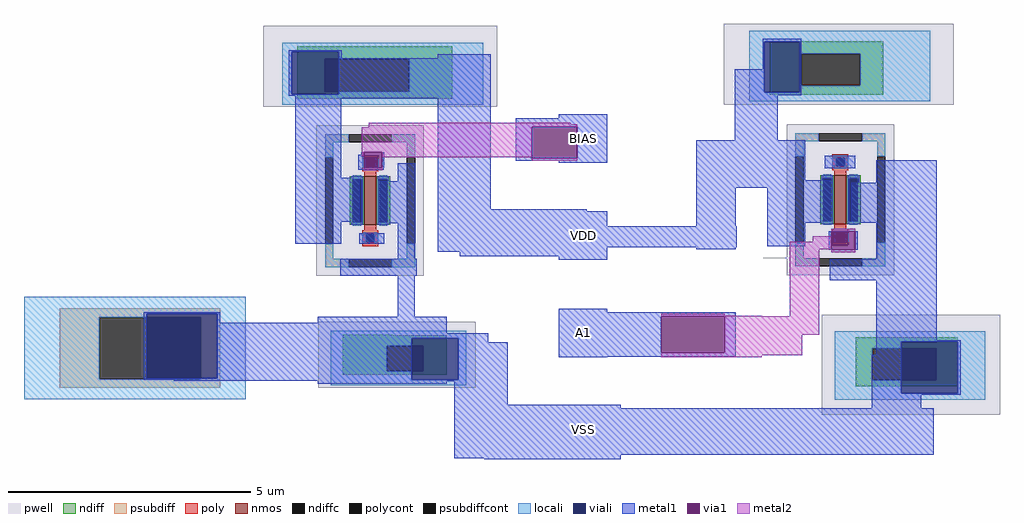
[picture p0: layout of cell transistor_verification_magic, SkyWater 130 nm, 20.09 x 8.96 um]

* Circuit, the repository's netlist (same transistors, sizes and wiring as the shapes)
* NGSPICE file created from transistor_verification_magic.ext - technology: sky130A

.subckt sky130_fd_pr__nfet_01v8_HHPQSU a_25_n100# a_n33_n188# a_n185_n274# a_n83_n100#
X0 a_25_n100# a_n33_n188# a_n83_n100# a_n185_n274# sky130_fd_pr__nfet_01v8 ad=0.29 pd=2.58 as=0.29 ps=2.58 w=1 l=0.25
.ends

.subckt transistor_verification_magic BIAS VDD A1 VSS
XXM4 VSS A1 VSS VDD sky130_fd_pr__nfet_01v8_HHPQSU
XXM5 VSS BIAS VSS VDD sky130_fd_pr__nfet_01v8_HHPQSU
.ends

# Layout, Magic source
magic
tech sky130A
magscale 1 2
<< pwell >>
rect -1218 230 -254 564
rect 678 240 1626 572
rect 842 -392 1222 -390
rect -990 -926 -342 -654
rect 1082 -1038 1816 -626
<< ndiff >>
rect -1078 428 -440 480
rect -1078 292 -964 428
rect -616 292 -440 428
rect -1078 264 -440 292
rect 868 448 1336 500
rect 868 318 998 448
rect 1240 318 1336 448
rect 868 280 1336 318
rect -890 -710 -684 -708
rect -890 -754 -462 -710
rect -890 -858 -708 -754
rect -558 -858 -462 -754
rect -890 -872 -462 -858
rect 1222 -764 1642 -718
rect 1222 -896 1290 -764
rect 1554 -896 1642 -764
rect 1222 -920 1642 -896
<< ndiffc >>
rect -964 292 -616 428
rect 998 318 1240 448
rect -708 -858 -558 -754
rect 1290 -896 1554 -764
<< psubdiff >>
rect -2054 -636 -1394 -598
rect -2054 -892 -1892 -636
rect -1474 -892 -1394 -636
rect -2054 -926 -1394 -892
<< psubdiffcont >>
rect -1892 -892 -1474 -636
<< locali >>
rect 784 498 1528 544
rect -1138 458 -312 494
rect -1138 282 -1100 458
rect -906 428 -312 458
rect -616 292 -312 428
rect -906 282 -312 292
rect -1138 238 -312 282
rect 784 290 846 498
rect 992 448 1528 498
rect 992 318 998 448
rect 1240 318 1528 448
rect 992 290 1528 318
rect 784 254 1528 290
rect -2202 -622 -1290 -552
rect -2202 -636 -1696 -622
rect -2202 -892 -1892 -636
rect -1406 -888 -1290 -622
rect -1474 -892 -1290 -888
rect -2202 -974 -1290 -892
rect -940 -722 -382 -692
rect -940 -754 -606 -722
rect -940 -858 -708 -754
rect -940 -894 -606 -858
rect -414 -894 -382 -722
rect -940 -916 -382 -894
rect 1136 -736 1756 -694
rect 1136 -764 1410 -736
rect 1136 -896 1290 -764
rect 1136 -948 1410 -896
rect 1642 -948 1756 -736
rect 1136 -976 1756 -948
<< viali >>
rect -1100 428 -906 458
rect -1100 292 -964 428
rect -964 292 -906 428
rect -1100 282 -906 292
rect 846 290 992 498
rect -1696 -636 -1406 -622
rect -1696 -888 -1474 -636
rect -1474 -888 -1406 -636
rect -606 -754 -414 -722
rect -606 -858 -558 -754
rect -558 -858 -414 -754
rect -606 -894 -414 -858
rect 1410 -764 1642 -736
rect 1410 -896 1554 -764
rect 1554 -896 1642 -764
rect 1410 -948 1642 -896
<< metal1 >>
rect 840 498 998 510
rect -1112 458 -894 464
rect -1112 282 -1100 458
rect -906 430 -894 458
rect -498 430 -280 446
rect -906 282 -280 430
rect 840 386 846 498
rect -1112 276 -280 282
rect -1086 266 -280 276
rect -1086 -62 -896 266
rect -814 34 -804 44
rect -826 -20 -804 34
rect -728 -20 -718 44
rect -826 -28 -722 -20
rect -1086 -242 -820 -62
rect -664 -76 -594 -2
rect -1086 -334 -896 -242
rect -740 -248 -594 -76
rect -822 -334 -718 -290
rect -664 -396 -594 -248
rect -498 -192 -280 266
rect 724 290 846 386
rect 992 290 998 498
rect 724 278 998 290
rect 0 184 200 200
rect -178 148 200 184
rect -178 18 -112 148
rect 76 18 200 148
rect 724 92 902 278
rect -178 8 200 18
rect 0 0 200 8
rect 566 -72 1014 92
rect 1094 -22 1220 30
rect 566 -102 1126 -72
rect 1306 -82 1556 10
rect -498 -200 114 -192
rect -498 -262 200 -200
rect 566 -262 728 -102
rect 858 -246 1126 -102
rect 1204 -246 1556 -82
rect -498 -348 732 -262
rect 858 -344 1014 -246
rect 1130 -282 1194 -280
rect -498 -366 200 -348
rect 566 -356 728 -348
rect 1112 -358 1122 -282
rect 1220 -358 1230 -282
rect -408 -384 200 -366
rect -900 -466 -586 -396
rect 0 -400 200 -384
rect 1306 -398 1556 -246
rect -1708 -622 -1394 -616
rect -1708 -888 -1696 -622
rect -1406 -658 -1394 -622
rect -664 -634 -594 -466
rect 1116 -484 1556 -398
rect 0 -616 200 -600
rect 0 -632 728 -616
rect -992 -658 -462 -634
rect -1406 -702 -462 -658
rect -1406 -722 -290 -702
rect -1406 -888 -606 -722
rect -1708 -894 -606 -888
rect -414 -738 -290 -722
rect -414 -894 -210 -738
rect 0 -782 422 -632
rect 682 -782 728 -632
rect 0 -798 728 -782
rect 1306 -730 1556 -484
rect 1306 -736 1654 -730
rect 1306 -790 1410 -736
rect 0 -800 200 -798
rect -1586 -898 -210 -894
rect -992 -900 -210 -898
rect -992 -910 -462 -900
rect -430 -996 -210 -900
rect 1288 -948 1410 -790
rect 1642 -948 1654 -736
rect 1288 -954 1654 -948
rect -430 -1010 254 -996
rect 1288 -1010 1492 -954
rect -430 -1202 1544 -1010
rect -430 -1216 254 -1202
rect -308 -1220 254 -1216
<< via1 >>
rect -804 -20 -728 44
rect -112 18 76 148
rect 1122 -358 1220 -282
rect 422 -782 682 -632
<< metal2 >>
rect -782 158 48 164
rect -782 148 76 158
rect -782 146 -112 148
rect -812 44 -112 146
rect -812 26 -804 44
rect -728 22 -112 44
rect -112 8 76 18
rect -804 -30 -728 -20
rect 1122 -282 1220 -272
rect 1046 -324 1122 -302
rect 950 -356 1122 -324
rect 422 -630 682 -622
rect 422 -632 836 -630
rect 950 -632 1072 -356
rect 1122 -368 1220 -358
rect 682 -708 1072 -632
rect 682 -782 1002 -708
rect 422 -792 1002 -782
rect 422 -800 836 -792
use sky130_fd_pr__nfet_01v8_HHPQSU  XM4
transform 1 0 1159 0 1 -152
box -221 -310 221 310
use sky130_fd_pr__nfet_01v8_HHPQSU  XM5
transform 1 0 -777 0 1 -156
box -221 -310 221 310
<< labels >>
flabel metal1 0 0 200 200 0 FreeSans 256 0 0 0 BIAS
port 0 nsew
flabel metal1 0 -400 200 -200 0 FreeSans 256 0 0 0 VDD
port 1 nsew
flabel metal1 0 -800 200 -600 0 FreeSans 256 0 0 0 A1
port 2 nsew
flabel metal1 0 -1200 200 -1000 0 FreeSans 256 0 0 0 VSS
port 3 nsew
<< end >>

# cell sky130_fd_pr__nfet_01v8_HHPQSU: kit device sky130_fd_pr__nfet_01v8, w 1.0 l 0.25 m 1 nf 1 diffcov 100 polycov 100 guard 1 glc 1 grc 1 gtc 1 gbc 1 tbcov 100 rlcov 100 topc 1 botc 1 poverlap 0 doverlap 1 lmin 0.15 wmin 0.42 class mosfet compatible {sky130_fd_pr__nfet_01v8 sky130_fd_pr__nfet_01v8_lvt sky130_fd_bs_flash__special_sonosfet_star sky130_fd_pr__nfet_g5v0d10v5 sky130_fd_pr__nfet_05v0_nvt sky130_fd_pr__nfet_03v3_nvt} full_metal 1 viasrc 100 viadrn 100 viagate 100 viagb 0 viagr 0 viagl 0 viagt 0
